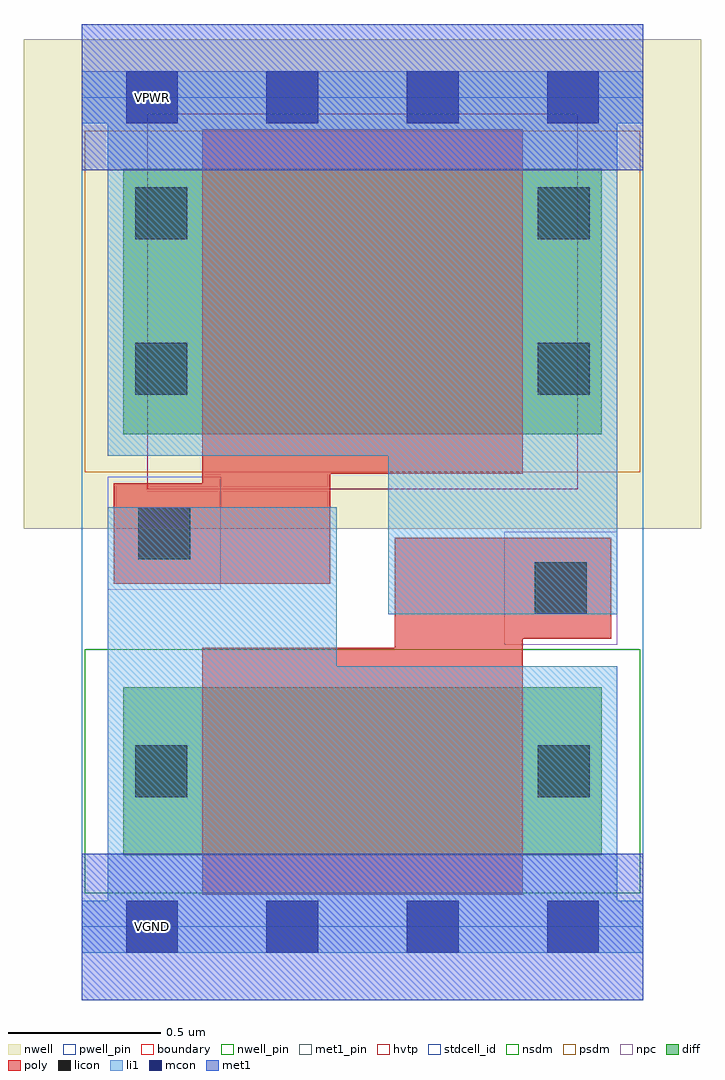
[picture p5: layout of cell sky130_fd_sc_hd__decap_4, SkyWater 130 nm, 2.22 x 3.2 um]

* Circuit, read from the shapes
.subckt sky130_fd_sc_hd__decap_4 VGND VNB VPB VPWR
XM1 VGND VPWR VGND VNB sky130_fd_pr__nfet_01v8 w=0.55 l=1.05
XM2 VPWR VGND VPWR VPB sky130_fd_pr__pfet_01v8_hvt w=0.87 l=1.05
.ends

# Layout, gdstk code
import gdstk
lib = gdstk.Library(unit=1e-6, precision=1e-09)
def R(c, l, rs):  # rectangles x0, y0, x1, y1
    for r in rs: c.add(gdstk.rectangle(r[:2], r[2:], *l))
def A(c, l, x, y, w, h, nx, ny, dx, dy):  # array of equal rectangles
    R(c, l, [(x+i*dx, y+j*dy, x+i*dx+w, y+j*dy+h) for i in range(nx) for j in range(ny)])
nwell_pin = (64, 16)
nwell = (64, 20)
diff = (65, 20)
poly = (66, 20)
licon = (66, 44)
li1 = (67, 20)
mcon = (67, 44)
met1_pin = (68, 16)
met1 = (68, 20)
hvtp = (78, 44)
stdcell_id = (81, 4)
nsdm = (93, 44)
psdm = (94, 20)
npc = (95, 20)
pwell_pin = (122, 16)
boundary = (235, 4)

sky130_fd_sc_hd__decap_4 = lib.new_cell('sky130_fd_sc_hd__decap_4')
R(sky130_fd_sc_hd__decap_4, nwell_pin, [(0.145,2.635,0.315,2.805)])
R(sky130_fd_sc_hd__decap_4, nwell, [(-0.19,1.305,2.03,2.91)])
R(sky130_fd_sc_hd__decap_4, diff, [(0.135,0.235,1.705,0.785), (0.135,1.615,1.705,2.485)])
R(sky130_fd_sc_hd__decap_4, poly, [(0.395,0.105,1.445,0.915), (1.025,0.915,1.445,0.945), (1.025,0.945,1.735,1.275), (0.105,1.125,0.815,1.455), (0.395,1.455,0.815,1.485), (0.395,1.485,1.445,2.615)])
R(sky130_fd_sc_hd__decap_4, licon, [(0.175,0.425,0.345,0.595), (1.495,0.425,1.665,0.595), (1.485,1.025,1.655,1.195), (0.185,1.205,0.355,1.375), (0.175,1.745,0.345,1.915), (1.495,1.745,1.665,1.915), (0.175,2.255,0.345,2.425), (1.495,2.255,1.665,2.425)])
R(sky130_fd_sc_hd__decap_4, li1, [(0,-0.085,1.84,0.085), (0.085,0.085,1.755,0.855), (0.085,0.855,0.835,1.375), (1.005,1.025,1.755,1.545), (0.085,1.545,1.755,2.635), (0,2.635,1.84,2.805)])
A(sky130_fd_sc_hd__decap_4, mcon, 0.145, -0.085, 0.17, 0.17, 4, 2, 0.46, 2.72)
R(sky130_fd_sc_hd__decap_4, met1_pin, [(0.145,-0.085,0.315,0.085), (0.145,2.635,0.315,2.805)])
R(sky130_fd_sc_hd__decap_4, met1, [(0,-0.24,1.84,0.24), (0,2.48,1.84,2.96)])
R(sky130_fd_sc_hd__decap_4, hvtp, [(0.215,1.435,1.625,2.665)])
R(sky130_fd_sc_hd__decap_4, stdcell_id, [(0,0,1.84,2.72)])
R(sky130_fd_sc_hd__decap_4, nsdm, [(0.01,0.11,1.83,0.91)])
R(sky130_fd_sc_hd__decap_4, psdm, [(0.01,1.49,1.83,2.61)])
R(sky130_fd_sc_hd__decap_4, npc, [(1.385,0.925,1.755,1.295), (0.085,1.105,0.455,1.475)])
R(sky130_fd_sc_hd__decap_4, pwell_pin, [(0.145,-0.085,0.315,0.085)])
R(sky130_fd_sc_hd__decap_4, boundary, [(0,0,1.84,2.72)])
sky130_fd_sc_hd__decap_4.add(gdstk.Label('VGND', (0.23,0), layer=68, texttype=5))
sky130_fd_sc_hd__decap_4.add(gdstk.Label('VPWR', (0.23,2.72), layer=68, texttype=5))
sky130_fd_sc_hd__decap_4.add(gdstk.Label('VPB', (0.23,2.72), layer=64, texttype=5))
sky130_fd_sc_hd__decap_4.add(gdstk.Label('VNB', (0.23,0), layer=64, texttype=59))

lib.write_gds('sky130_fd_sc_hd__decap_4.gds')
